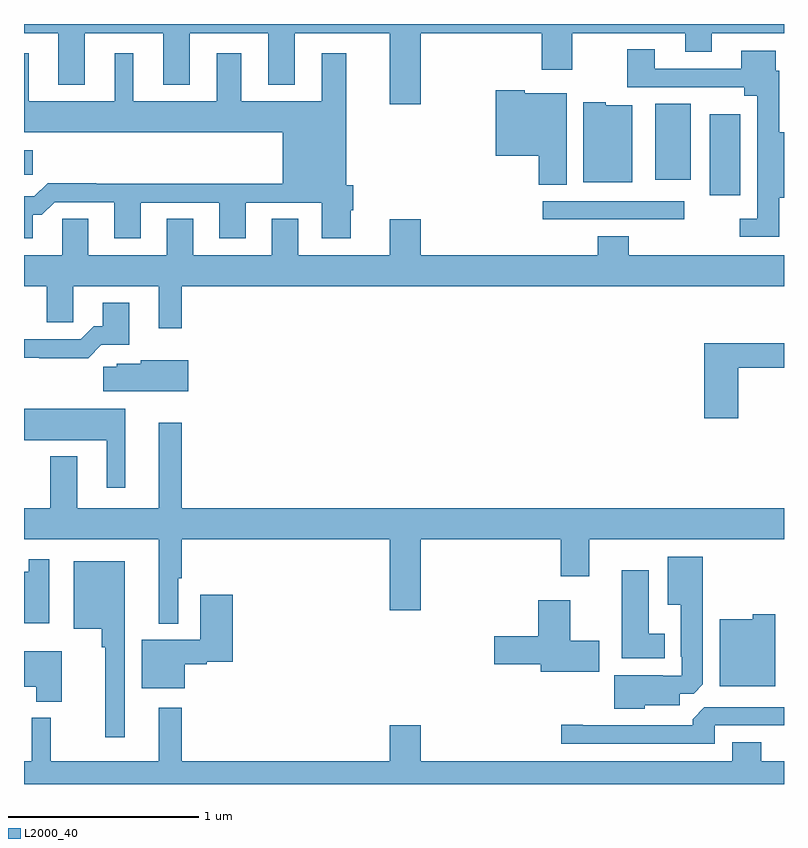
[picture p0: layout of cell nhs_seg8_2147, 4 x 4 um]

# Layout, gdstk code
import gdstk
lib = gdstk.Library(unit=1e-6, precision=1e-09)
def R(c, l, rs):  # rectangles x0, y0, x1, y1
    for r in rs: c.add(gdstk.rectangle(r[:2], r[2:], *l))
def P(c, l, *ps):  # polygons
    for p in ps: c.add(gdstk.Polygon(p, *l))
L2000_40 = (2000, 40)

nhs_seg8_2147 = lib.new_cell('nhs_seg8_2147')
R(nhs_seg8_2147, L2000_40, [(249.729,1096.872,250.474,1096.968), (250.61,1096.998,250.771,1097.425), (250.322,1097.081,250.51,1097.479), (247,1097.107,247.045,1097.236)])
P(nhs_seg8_2147, L2000_40, [(247,1097.852),(247.181,1097.852),(247.181,1097.579),(247.321,1097.579),(247.321,1097.852),(247.733,1097.852),(247.733,1097.579),(247.873,1097.579),(247.873,1097.852),(248.285,1097.852),(248.285,1097.579),(248.425,1097.579),(248.425,1097.852),(248.924,1097.852),(248.924,1097.478),(249.088,1097.478),(249.088,1097.852),(249.725,1097.852),(249.725,1097.658),(249.885,1097.658),(249.885,1097.852),(250.481,1097.852),(250.481,1097.753),(250.621,1097.753),(250.621,1097.852),(251,1097.852),(251,1097.9),(247,1097.9)],
  [(250.976,1096.985),(251,1096.985),(251,1097.329),(250.976,1097.329),(250.976,1097.654),(250.957,1097.654),(250.957,1097.758),(250.775,1097.758),(250.775,1097.664),(250.321,1097.664),(250.321,1097.767),(250.174,1097.767),(250.174,1097.568),(250.79,1097.568),(250.79,1097.522),(250.86,1097.522),(250.86,1097.225),(250.859,1097.225),(250.859,1096.875),(250.767,1096.875),(250.767,1096.779),(250.976,1096.779)],
  [(247.045,1096.895),(247.094,1096.895),(247.161,1096.962),(247.475,1096.962),(247.475,1096.773),(247.615,1096.773),(247.615,1096.959),(248.027,1096.959),(248.027,1096.773),(248.167,1096.773),(248.167,1096.959),(248.567,1096.959),(248.567,1096.773),(248.719,1096.773),(248.719,1096.919),(248.732,1096.919),(248.732,1097.052),(248.695,1097.052),(248.695,1097.746),(248.567,1097.746),(248.567,1097.494),(248.143,1097.494),(248.143,1097.746),(248.015,1097.746),(248.015,1097.494),(247.576,1097.494),(247.576,1097.746),(247.478,1097.746),(247.478,1097.494),(247.024,1097.494),(247.024,1097.746),(247,1097.746),(247,1097.33),(248.363,1097.33),(248.363,1097.06),(247.379,1097.06),(247.379,1097.063),(247.124,1097.063),(247.054,1096.993),(247,1096.993),(247,1096.773),(247.045,1096.773)],
  [(249.856,1097.536),(249.636,1097.536),(249.636,1097.551),(249.482,1097.551),(249.482,1097.207),(249.71,1097.207),(249.71,1097.053),(249.856,1097.053)],
  [(250.201,1097.473),(250.062,1097.473),(250.062,1097.488),(249.944,1097.488),(249.944,1097.066),(250.201,1097.066)],
  [(247.831,1096.52),(251,1096.52),(251,1096.684),(250.184,1096.684),(250.184,1096.783),(250.019,1096.783),(250.019,1096.684),(249.088,1096.684),(249.088,1096.873),(248.924,1096.873),(248.924,1096.684),(248.443,1096.684),(248.443,1096.874),(248.303,1096.874),(248.303,1096.684),(247.891,1096.684),(247.891,1096.874),(247.751,1096.874),(247.751,1096.684),(247.339,1096.684),(247.339,1096.874),(247.2,1096.874),(247.2,1096.684),(247,1096.684),(247,1096.52),(247.121,1096.52),(247.121,1096.33),(247.26,1096.33),(247.26,1096.52),(247.709,1096.52),(247.709,1096.299),(247.831,1096.299)],
  [(247.407,1096.212),(247.555,1096.212),(247.555,1096.432),(247.415,1096.432),(247.415,1096.309),(247.366,1096.309),(247.299,1096.242),(247,1096.242),(247,1096.144),(247.081,1096.144),(247.081,1096.142),(247.337,1096.142)],
  [(250.758,1096.09),(251,1096.09),(251,1096.219),(250.58,1096.219),(250.58,1095.825),(250.758,1095.825)],
  [(247.864,1096.129),(247.614,1096.129),(247.614,1096.111),(247.488,1096.111),(247.488,1096.097),(247.416,1096.097),(247.416,1095.968),(247.864,1095.968)],
  [(247.534,1095.874),(247,1095.874),(247,1095.71),(247.436,1095.71),(247.436,1095.459),(247.534,1095.459)],
  [(247.813,1094.983),(247.831,1094.983),(247.831,1095.188),(248.924,1095.188),(248.924,1094.814),(249.088,1094.814),(249.088,1095.188),(249.824,1095.188),(249.824,1094.994),(249.976,1094.994),(249.976,1095.188),(251,1095.188),(251,1095.352),(247.831,1095.352),(247.831,1095.802),(247.709,1095.802),(247.709,1095.352),(247.279,1095.352),(247.279,1095.625),(247.139,1095.625),(247.139,1095.352),(247,1095.352),(247,1095.188),(247.709,1095.188),(247.709,1094.744),(247.813,1094.744)],
  [(250.266,1094.315),(250.45,1094.315),(250.45,1094.376),(250.524,1094.376),(250.573,1094.425),(250.573,1095.097),(250.388,1095.097),(250.388,1094.843),(250.457,1094.843),(250.457,1094.569),(250.461,1094.569),(250.461,1094.469),(250.361,1094.469),(250.361,1094.473),(250.106,1094.473),(250.106,1094.297),(250.266,1094.297)],
  [(247.134,1095.082),(247.026,1095.082),(247.026,1095.016),(247,1095.016),(247,1094.747),(247.134,1094.747)],
  [(247.531,1095.073),(247.262,1095.073),(247.262,1094.717),(247.41,1094.717),(247.41,1094.621),(247.427,1094.621),(247.427,1094.145),(247.531,1094.145)],
  [(250.372,1094.692),(250.288,1094.692),(250.288,1095.025),(250.145,1095.025),(250.145,1094.561),(250.372,1094.561)],
  [(247.846,1094.531),(247.962,1094.531),(247.962,1094.543),(248.099,1094.543),(248.099,1094.896),(247.928,1094.896),(247.928,1094.659),(247.619,1094.659),(247.619,1094.405),(247.846,1094.405)],
  [(250.027,1094.655),(249.874,1094.655),(249.874,1094.866),(249.707,1094.866),(249.707,1094.678),(249.474,1094.678),(249.474,1094.531),(249.719,1094.531),(249.719,1094.492),(250.027,1094.492)],
  [(250.954,1094.794),(250.836,1094.794),(250.836,1094.767),(250.661,1094.767),(250.661,1094.414),(250.954,1094.414)],
  [(247.198,1094.599),(247,1094.599),(247,1094.411),(247.064,1094.411),(247.064,1094.333),(247.198,1094.333)],
  [(250.635,1094.208),(251,1094.208),(251,1094.304),(250.581,1094.304),(250.52,1094.242),(250.52,1094.208),(249.94,1094.208),(249.94,1094.213),(249.828,1094.213),(249.828,1094.112),(250.635,1094.112)],
  [(251,1094.02),(250.88,1094.02),(250.88,1094.119),(250.727,1094.119),(250.727,1094.02),(249.088,1094.02),(249.088,1094.209),(248.924,1094.209),(248.924,1094.02),(247.831,1094.02),(247.831,1094.302),(247.709,1094.302),(247.709,1094.02),(247.142,1094.02),(247.142,1094.248),(247.04,1094.248),(247.04,1094.02),(247,1094.02),(247,1093.9),(251,1093.9)])

lib.write_gds('nhs_seg8_2147.gds')
